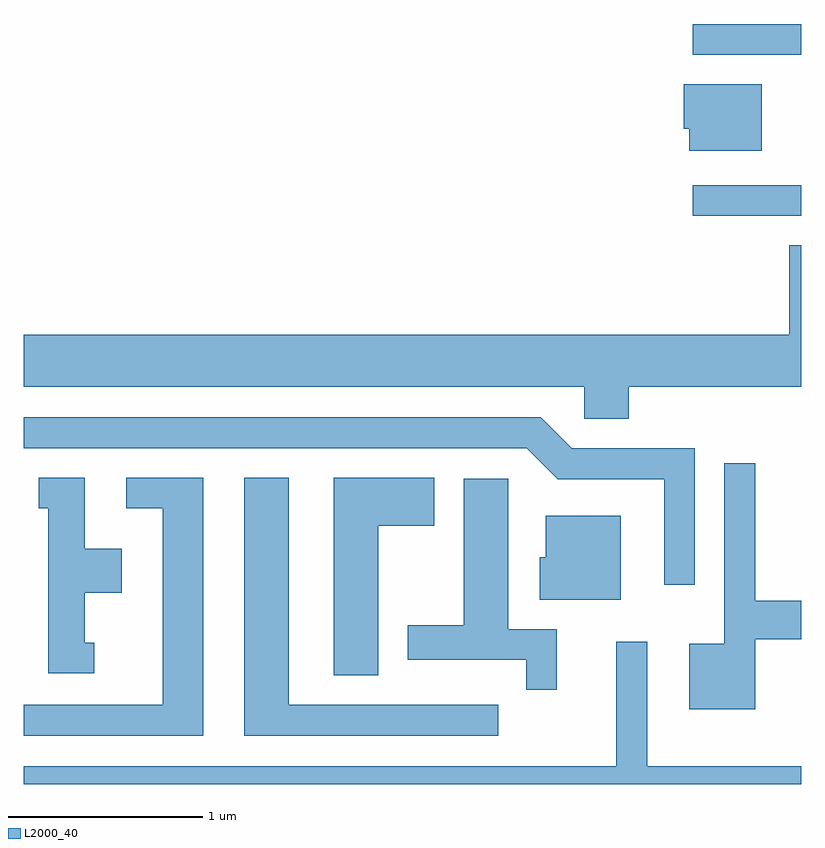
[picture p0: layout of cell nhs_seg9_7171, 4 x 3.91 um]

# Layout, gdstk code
import gdstk
lib = gdstk.Library(unit=1e-6, precision=1e-09)
def R(c, l, rs):  # rectangles x0, y0, x1, y1
    for r in rs: c.add(gdstk.rectangle(r[:2], r[2:], *l))
def P(c, l, *ps):  # polygons
    for p in ps: c.add(gdstk.Polygon(p, *l))
L2000_40 = (2000, 40)

nhs_seg9_7171 = lib.new_cell('nhs_seg9_7171')
R(nhs_seg9_7171, L2000_40, [(401.053,1999.356,401.611,1999.514), (401.053,2000.186,401.611,2000.344)])
P(nhs_seg9_7171, L2000_40, [(401.409,2000.034),(401.006,2000.034),(401.006,1999.806),(401.036,1999.806),(401.036,1999.691),(401.409,1999.691)],
  [(400.724,1998.476),(401.611,1998.476),(401.611,1999.204),(401.551,1999.204),(401.551,1998.744),(397.611,1998.744),(397.611,1998.476),(400.496,1998.476),(400.496,1998.311),(400.724,1998.311)],
  [(401.064,1998.159),(400.432,1998.159),(400.272,1998.319),(397.611,1998.319),(397.611,1998.161),(400.199,1998.161),(400.359,1998.001),(400.906,1998.001),(400.906,1997.458),(401.064,1997.458)],
  [(401.374,1997.176),(401.611,1997.176),(401.611,1997.374),(401.374,1997.374),(401.374,1998.083),(401.216,1998.083),(401.216,1997.154),(401.036,1997.154),(401.036,1996.816),(401.374,1996.816)],
  [(398.534,1998.009),(398.138,1998.009),(398.138,1997.851),(398.326,1997.851),(398.326,1996.839),(397.611,1996.839),(397.611,1996.681),(398.534,1996.681)],
  [(399.434,1997.761),(399.724,1997.761),(399.724,1998.009),(399.206,1998.009),(399.206,1996.991),(399.434,1996.991)],
  [(397.973,1997.159),(397.924,1997.159),(397.924,1997.416),(398.114,1997.416),(398.114,1997.644),(397.924,1997.644),(397.924,1998.009),(397.688,1998.009),(397.688,1997.851),(397.736,1997.851),(397.736,1997.001),(397.973,1997.001)],
  [(400.053,1996.839),(398.974,1996.839),(398.974,1998.009),(398.746,1998.009),(398.746,1996.681),(400.053,1996.681)],
  [(400.354,1997.229),(400.104,1997.229),(400.104,1998.004),(399.876,1998.004),(399.876,1997.249),(399.586,1997.249),(399.586,1997.071),(400.196,1997.071),(400.196,1996.918),(400.354,1996.918)],
  [(400.684,1997.814),(400.296,1997.814),(400.296,1997.599),(400.266,1997.599),(400.266,1997.381),(400.684,1997.381)],
  [(401.611,1996.524),(400.819,1996.524),(400.819,1997.163),(400.661,1997.163),(400.661,1996.524),(397.611,1996.524),(397.611,1996.432),(401.611,1996.432)])

lib.write_gds('nhs_seg9_7171.gds')
